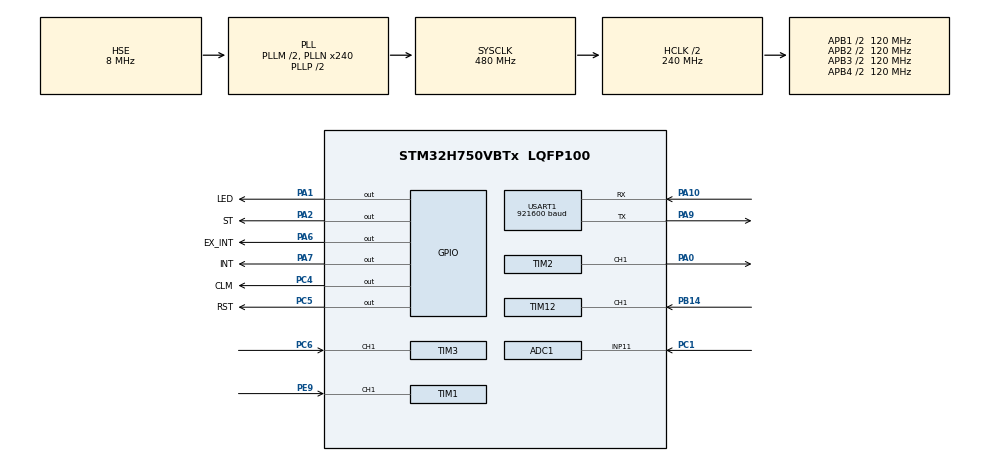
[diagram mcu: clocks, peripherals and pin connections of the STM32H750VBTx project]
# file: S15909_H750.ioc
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ADC1.Channel-1\#ChannelRegularConversion=ADC_CHANNEL_11
ADC1.ClockPrescaler=ADC_CLOCK_ASYNC_DIV2
ADC1.ContinuousConvMode=ENABLE
ADC1.NbrOfConversionFlag=1
ADC1.OffsetNumber-1\#ChannelRegularConversion=ADC_OFFSET_NONE
ADC1.OffsetSignedSaturation-1\#ChannelRegularConversion=DISABLE
ADC1.Overrun=ADC_OVR_DATA_OVERWRITTEN
ADC1.Rank-1\#ChannelRegularConversion=1
ADC1.SamplingTime-1\#ChannelRegularConversion=ADC_SAMPLETIME_1CYCLE_5
ADC1.master=1
CORTEX_M7.AccessPermission-Cortex_Memory_Protection_Unit_Region0_Settings=MPU_REGION_FULL_ACCESS
CORTEX_M7.BaseAddress-Cortex_Memory_Protection_Unit_Region0_Settings=0x24000000
CORTEX_M7.BaseAddress_Spec=0x24000000
CORTEX_M7.CPU_DCache=Enabled
CORTEX_M7.CPU_ICache=Enabled
CORTEX_M7.DisableExec_Spec=MPU_INSTRUCTION_ACCESS_ENABLE
CORTEX_M7.Enable-Cortex_Memory_Protection_Unit_Region0_Settings=MPU_REGION_ENABLE
CORTEX_M7.IsBufferable-Cortex_Memory_Protection_Unit_Region0_Settings=MPU_ACCESS_NOT_BUFFERABLE
CORTEX_M7.IsBufferable_Spec=MPU_ACCESS_BUFFERABLE
CORTEX_M7.IsCacheable-Cortex_Memory_Protection_Unit_Region0_Settings=MPU_ACCESS_CACHEABLE
CORTEX_M7.IsCacheable_Spec=MPU_ACCESS_CACHEABLE
CORTEX_M7.IsShareable-Cortex_Memory_Protection_Unit_Region0_Settings=MPU_ACCESS_SHAREABLE
CORTEX_M7.IsShareable_Spec=MPU_ACCESS_NOT_SHAREABLE
CORTEX_M7.MPU_Control=MPU_PRIVILEGED_DEFAULT
CORTEX_M7.Size-Cortex_Memory_Protection_Unit_Region0_Settings=MPU_REGION_SIZE_512KB
CORTEX_M7.Size_Spec=MPU_REGION_SIZE_512KB
CORTEX_M7.SubRegionDisable_Spec=0x0
CORTEX_M7.TypeExtField-Cortex_Memory_Protection_Unit_Region0_Settings=MPU_TEX_LEVEL0
CORTEX_M7.TypeExtField_Spec=MPU_TEX_LEVEL1
Dma.Request0=USART1_TX
Dma.USART1_TX.0.Direction=DMA_MEMORY_TO_PERIPH
Dma.USART1_TX.0.EventEnable=DISABLE
Dma.USART1_TX.0.FIFOMode=DMA_FIFOMODE_DISABLE
Dma.USART1_TX.0.Instance=DMA1_Stream0
Dma.USART1_TX.0.MemDataAlignment=DMA_MDATAALIGN_BYTE
Dma.USART1_TX.0.MemInc=DMA_MINC_ENABLE
Dma.USART1_TX.0.Mode=DMA_CIRCULAR
Dma.USART1_TX.0.PeriphDataAlignment=DMA_PDATAALIGN_BYTE
Dma.USART1_TX.0.PeriphInc=DMA_PINC_DISABLE
Dma.USART1_TX.0.Polarity=HAL_DMAMUX_REQ_GEN_RISING
Dma.USART1_TX.0.Priority=DMA_PRIORITY_MEDIUM
Dma.USART1_TX.0.RequestNumber=1
Dma.USART1_TX.0.SignalID=NONE
Dma.USART1_TX.0.SyncEnable=DISABLE
Dma.USART1_TX.0.SyncPolarity=HAL_DMAMUX_SYNC_NO_EVENT
Dma.USART1_TX.0.SyncRequestNumber=1
Dma.USART1_TX.0.SyncSignalID=NONE
Mcu.Family=STM32H7
Mcu.Name=STM32H750VBTx
Mcu.Package=LQFP100
NVIC.ADC_IRQn=true\:0\:0\:false\:false\:true\:true\:true\:true
NVIC.DMA1_Stream0_IRQn=true\:0\:0\:false\:false\:true\:false\:true\:true
NVIC.PriorityGroup=NVIC_PRIORITYGROUP_4
NVIC.TIM1_CC_IRQn=true\:0\:0\:false\:false\:true\:true\:true\:true
NVIC.TIM1_TRG_COM_IRQn=true\:0\:0\:false\:false\:true\:true\:true\:true
NVIC.TIM3_IRQn=true\:0\:0\:false\:false\:true\:true\:true\:true
NVIC.TIM8_BRK_TIM12_IRQn=true\:0\:0\:false\:false\:true\:true\:true\:true
NVIC.USART1_IRQn=true\:0\:0\:false\:false\:true\:true\:true\:true
PA0.Signal=S_TIM2_CH1_ETR
PA1.GPIO_Label=LED
PA1.GPIO_Speed=GPIO_SPEED_FREQ_HIGH
PA1.Signal=GPIO_Output
PA10.GPIO_Speed=GPIO_SPEED_FREQ_HIGH
PA10.Mode=Asynchronous
PA10.Signal=USART1_RX
PA2.GPIO_Label=ST
PA2.GPIO_Speed=GPIO_SPEED_FREQ_HIGH
PA2.Signal=GPIO_Output
PA6.GPIO_Label=EX_INT
PA6.GPIO_Speed=GPIO_SPEED_FREQ_HIGH
PA6.Signal=GPIO_Output
PA7.GPIO_Label=INT
PA7.GPIO_Speed=GPIO_SPEED_FREQ_HIGH
PA7.Signal=GPIO_Output
PA9.GPIO_Speed=GPIO_SPEED_FREQ_HIGH
PA9.Mode=Asynchronous
PA9.Signal=USART1_TX
PB14.Signal=S_TIM12_CH1
PC1.Signal=ADCx_INP11
PC4.GPIO_Label=CLM
PC4.GPIO_Speed=GPIO_SPEED_FREQ_HIGH
PC4.Signal=GPIO_Output
PC5.GPIO_Label=RST
PC5.GPIO_Speed=GPIO_SPEED_FREQ_HIGH
PC5.Signal=GPIO_Output
PC6.Signal=S_TIM3_CH1
PE9.Signal=S_TIM1_CH1
PH0-OSC_IN\ (PH0).Mode=HSE-External-Oscillator
PH0-OSC_IN\ (PH0).Signal=RCC_OSC_IN
PH1-OSC_OUT\ (PH1).Mode=HSE-External-Oscillator
PH1-OSC_OUT\ (PH1).Signal=RCC_OSC_OUT
ProjectManager.HeapSize=0x400
ProjectManager.StackSize=0x400
ProjectManager.TargetToolchain=STM32CubeIDE
RCC.ADCCLockSelection=RCC_ADCCLKSOURCE_CLKP
RCC.ADCFreq_Value=64000000
RCC.APB1Freq_Value=120000000
RCC.APB2Freq_Value=120000000
RCC.APB3Freq_Value=120000000
RCC.APB4Freq_Value=120000000
RCC.CortexFreq_Value=480000000
RCC.D1PPRE=RCC_APB3_DIV2
RCC.D2PPRE1=RCC_APB1_DIV2
RCC.D2PPRE2=RCC_APB2_DIV2
RCC.D3PPRE=RCC_APB4_DIV2
RCC.DIVM1=2
RCC.DIVM2=4
RCC.DIVN1=240
RCC.DIVN2=125
RCC.DIVP2=1
RCC.HCLKFreq_Value=240000000
RCC.HPRE=RCC_HCLK_DIV2
RCC.HSE_VALUE=8000000
RCC.PLLSourceVirtual=RCC_PLLSOURCE_HSE
RCC.PWR_Regulator_Voltage_Scale=PWR_REGULATOR_VOLTAGE_SCALE0
RCC.ProductRev=revV
RCC.SYSCLKFreq_VALUE=480000000
RCC.SYSCLKSource=RCC_SYSCLKSOURCE_PLLCLK
RCC.USBFreq_Value=480000000
SH.ADCx_INP11.0=ADC1_INP11,IN11-Single-Ended
SH.S_TIM12_CH1.0=TIM12_CH1,TriggerSource_TI1FP1
SH.S_TIM12_CH1.1=TIM12_CH1,Input_Capture1_from_TI1
SH.S_TIM1_CH1.0=TIM1_CH1,TriggerSource_TI1FP1
SH.S_TIM1_CH1.1=TIM1_CH1,Input_Capture1_from_TI1
SH.S_TIM2_CH1_ETR.0=TIM2_CH1,PWM Generation1 CH1
SH.S_TIM3_CH1.0=TIM3_CH1,TriggerSource_TI1FP1
SH.S_TIM3_CH1.1=TIM3_CH1,Input_Capture1_from_TI1
TIM1.Channel-Input_Capture1_from_TI1=TIM_CHANNEL_1
TIM1.ICPolarity_CH1=TIM_INPUTCHANNELPOLARITY_RISING
TIM1.Prescaler=24-1
TIM12.Channel-Input_Capture1_from_TI1=TIM_CHANNEL_1
TIM12.ICPolarity_CH1=TIM_INPUTCHANNELPOLARITY_FALLING
TIM12.Prescaler=24-1
TIM12.Slave_TriggerPolarity=TIM_TRIGGERPOLARITY_FALLING
TIM2.Channel-PWM\ Generation1\ CH1=TIM_CHANNEL_1
TIM2.Period=100
TIM2.Prescaler=24-1
TIM2.Pulse-PWM\ Generation1\ CH1=50
TIM3.Channel-Input_Capture1_from_TI1=TIM_CHANNEL_1
TIM3.Prescaler=24-1
USART1.BaudRate=921600
USART1.VirtualMode-Asynchronous=VM_ASYNC
VP_TIM12_VS_ControllerModeReset.Mode=Reset Mode
VP_TIM1_VS_ControllerModeReset.Mode=Reset Mode
VP_TIM3_VS_ControllerModeReset.Mode=Reset Mode
board=custom

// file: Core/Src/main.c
/* USER CODE BEGIN Header */
/**
  ******************************************************************************
  * @file           : main.c
  * @brief          : Main program body
  ******************************************************************************
  * @attention
  *
  * Copyright (c) 2023 STMicroelectronics.
  * All rights reserved.
  *
  * This software is licensed under terms that can be found in the LICENSE file
  * in the root directory of this software component.
  * If no LICENSE file comes with this software, it is provided AS-IS.
  *
  ******************************************************************************
  */
/* USER CODE END Header */
#include "main.h"
#include "adc.h"
#include "dma.h"
#include "tim.h"
#include "usart.h"
#include "gpio.h"

/* USER CODE BEGIN Includes */
#include "retarget.h"
#include "SerialDataProcess.h"
#include <stdint.h>
#include "Judge.h"
#include "cJSON_Test.h"
#include <stdbool.h>
#include "Dma_Send.h"
/* USER CODE END Includes */

void SystemClock_Config(void);
void PeriphCommonClock_Config(void);
static void MPU_Config(void);

/* USER CODE BEGIN 0 */
bool Printf_Flag = true;

/* USER CODE END 0 */

int main(void)
{

  /* MPU Configuration--------------------------------------------------------*/
  MPU_Config();

  /* Enable I-Cache---------------------------------------------------------*/
  SCB_EnableICache();

  /* Enable D-Cache---------------------------------------------------------*/
  SCB_EnableDCache();

  /* MCU Configuration--------------------------------------------------------*/

  /* Reset of all peripherals, Initializes the Flash interface and the Systick. */
  HAL_Init();

  /* Configure the system clock */
  SystemClock_Config();

/* Configure the peripherals common clocks */
  PeriphCommonClock_Config();

  /* Initialize all configured peripherals */
  MX_GPIO_Init();
  MX_DMA_Init();
  MX_TIM1_Init();
  MX_TIM2_Init();
  MX_USART1_UART_Init();
    RetargetInit(&huart1);
  MX_TIM12_Init();
  MX_ADC1_Init();
  MX_TIM3_Init();
  /* USER CODE BEGIN 2 */
  HAL_TIM_PWM_Start(&htim2,TIM_CHANNEL_1);//初始化，开启PWM
  /* USER CODE END 2 */

  /* Infinite loop */
  /* USER CODE BEGIN WHILE */

  while (1)
  {
    SerialDataProcess();
    if(Printf_Flag== true)
    {
        Judge();
        Printf_Flag = false;

    }
    DMA_Send();
    /*

   55 AA 00 77 00 7B 22 74 65 6D 70 65 72 61 74 75 72 65 22 3A 31 2C 22 70 6E 22 3A 31 2C 22 73 6E 22 3A 31 2C 22 70 72 6F 64 75 63 74 69 6F 6E 5F 64 61 74 65 22 3A 31 2C 22 6D 61 6E 75 66 61 63 74 75 72 65 72 22 3A 31 2C 22 73 65 74 5F 69 6E 74 65 67 72 61 74 69 6F 6E 5F 74 69 6D 65 22 3A 37 2C 22 64 65 76 69 63 65 5F 70 69 78 65 6C 5F 6C 65 6E 67 74 68 22 3A 31 7D 98 CA

   */
    /* USER CODE END WHILE */

  }
}

void SystemClock_Config(void)
{
  RCC_OscInitTypeDef RCC_OscInitStruct = {0};
  RCC_ClkInitTypeDef RCC_ClkInitStruct = {0};

  /** Supply configuration update enable
  */
  HAL_PWREx_ConfigSupply(PWR_LDO_SUPPLY);

  /** Configure the main internal regulator output voltage
  */
  __HAL_PWR_VOLTAGESCALING_CONFIG(PWR_REGULATOR_VOLTAGE_SCALE1);

  while(!__HAL_PWR_GET_FLAG(PWR_FLAG_VOSRDY)) {}

  __HAL_RCC_SYSCFG_CLK_ENABLE();
  __HAL_PWR_VOLTAGESCALING_CONFIG(PWR_REGULATOR_VOLTAGE_SCALE0);

  while(!__HAL_PWR_GET_FLAG(PWR_FLAG_VOSRDY)) {}

  /** Initializes the RCC Oscillators according to the specified parameters
  * in the RCC_OscInitTypeDef structure.
  */
  RCC_OscInitStruct.OscillatorType = RCC_OSCILLATORTYPE_HSI|RCC_OSCILLATORTYPE_HSE;
  RCC_OscInitStruct.HSEState = RCC_HSE_ON;
  RCC_OscInitStruct.HSIState = RCC_HSI_DIV1;
  RCC_OscInitStruct.HSICalibrationValue = RCC_HSICALIBRATION_DEFAULT;
  RCC_OscInitStruct.PLL.PLLState = RCC_PLL_ON;
  RCC_OscInitStruct.PLL.PLLSource = RCC_PLLSOURCE_HSE;
  RCC_OscInitStruct.PLL.PLLM = 2;
  RCC_OscInitStruct.PLL.PLLN = 240;
  RCC_OscInitStruct.PLL.PLLP = 2;
  RCC_OscInitStruct.PLL.PLLQ = 2;
  RCC_OscInitStruct.PLL.PLLR = 2;
  RCC_OscInitStruct.PLL.PLLRGE = RCC_PLL1VCIRANGE_2;
  RCC_OscInitStruct.PLL.PLLVCOSEL = RCC_PLL1VCOWIDE;
  RCC_OscInitStruct.PLL.PLLFRACN = 0;
  if (HAL_RCC_OscConfig(&RCC_OscInitStruct) != HAL_OK)
  {
    Error_Handler();
  }

  /** Initializes the CPU, AHB and APB buses clocks
  */
  RCC_ClkInitStruct.ClockType = RCC_CLOCKTYPE_HCLK|RCC_CLOCKTYPE_SYSCLK
                              |RCC_CLOCKTYPE_PCLK1|RCC_CLOCKTYPE_PCLK2
                              |RCC_CLOCKTYPE_D3PCLK1|RCC_CLOCKTYPE_D1PCLK1;
  RCC_ClkInitStruct.SYSCLKSource = RCC_SYSCLKSOURCE_PLLCLK;
  RCC_ClkInitStruct.SYSCLKDivider = RCC_SYSCLK_DIV1;
  RCC_ClkInitStruct.AHBCLKDivider = RCC_HCLK_DIV2;
  RCC_ClkInitStruct.APB3CLKDivider = RCC_APB3_DIV2;
  RCC_ClkInitStruct.APB1CLKDivider = RCC_APB1_DIV2;
  RCC_ClkInitStruct.APB2CLKDivider = RCC_APB2_DIV2;
  RCC_ClkInitStruct.APB4CLKDivider = RCC_APB4_DIV2;

  if (HAL_RCC_ClockConfig(&RCC_ClkInitStruct, FLASH_LATENCY_4) != HAL_OK)
  {
    Error_Handler();
  }
}

void PeriphCommonClock_Config(void)
{
  RCC_PeriphCLKInitTypeDef PeriphClkInitStruct = {0};

  /** Initializes the peripherals clock
  */
  PeriphClkInitStruct.PeriphClockSelection = RCC_PERIPHCLK_CKPER;
  PeriphClkInitStruct.CkperClockSelection = RCC_CLKPSOURCE_HSI;
  if (HAL_RCCEx_PeriphCLKConfig(&PeriphClkInitStruct) != HAL_OK)
  {
    Error_Handler();
  }
}

/* USER CODE BEGIN 4 */
void RCCdelay_us(uint32_t udelay)
{
  __IO uint32_t Delay = udelay * 480 / 8;//(SystemCoreClock / 8U / 1000000U)
    //见stm32f1xx_hal_rcc.c -- static void RCC_Delay(uint32_t mdelay)
  do
  {
    __NOP();
  }
  while (Delay --);
}
/* USER CODE END 4 */

/* MPU Configuration */

void MPU_Config(void)
{
  MPU_Region_InitTypeDef MPU_InitStruct = {0};

  /* Disables the MPU */
  HAL_MPU_Disable();

  /** Initializes and configures the Region and the memory to be protected
  */
  MPU_InitStruct.Enable = MPU_REGION_ENABLE;
  MPU_InitStruct.Number = MPU_REGION_NUMBER0;
  MPU_InitStruct.BaseAddress = 0x24000000;
  MPU_InitStruct.Size = MPU_REGION_SIZE_512KB;
  MPU_InitStruct.SubRegionDisable = 0x0;
  MPU_InitStruct.TypeExtField = MPU_TEX_LEVEL0;
  MPU_InitStruct.AccessPermission = MPU_REGION_FULL_ACCESS;
  MPU_InitStruct.DisableExec = MPU_INSTRUCTION_ACCESS_ENABLE;
  MPU_InitStruct.IsShareable = MPU_ACCESS_SHAREABLE;
  MPU_InitStruct.IsCacheable = MPU_ACCESS_CACHEABLE;
  MPU_InitStruct.IsBufferable = MPU_ACCESS_NOT_BUFFERABLE;

  HAL_MPU_ConfigRegion(&MPU_InitStruct);
  /* Enables the MPU */
  HAL_MPU_Enable(MPU_PRIVILEGED_DEFAULT);

}

void Error_Handler(void)
{
  __disable_irq();
  while (1)
  {
  }
}
